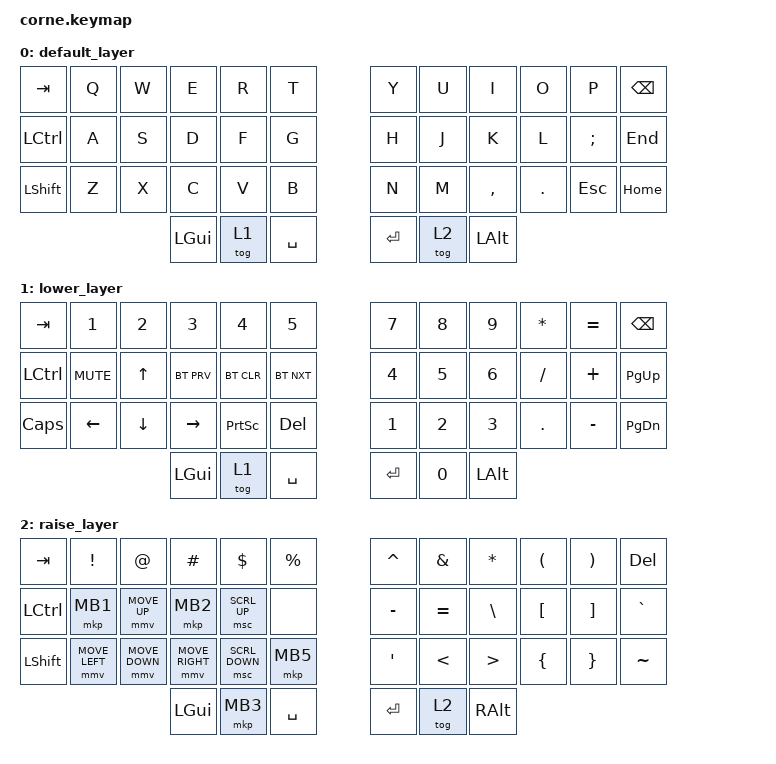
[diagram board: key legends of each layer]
/*
 * Copyright (c) 2020 The ZMK Contributors
 *
 * SPDX-License-Identifier: MIT
 */

#include <behaviors.dtsi>
#include <dt-bindings/zmk/keys.h>
#include <dt-bindings/zmk/bt.h>
#include <dt-bindings/zmk/pointing.h>

/ {
        keymap {
                compatible = "zmk,keymap";
                default_layer {
// -----------------------------------------------------------------------------------------
// |  TAB |  Q  |  W  |  E  |  R  |  T  |   |  Y  |  U   |  I  |  O  |  P  | BSPC |
// | CTRL |  A  |  S  |  D  |  F  |  G  |   |  H  |  J   |  K  |  L  |  ;  | END  |
// | SHFT |  Z  |  X  |  C  |  V  |  B  |   |  N  |  M   |  ,  |  .  | ESC | HOME |
//                    | GUI | LWR | SPC |   | ENT | RSE  | ALT |
                        bindings = <
   &kp TAB    &kp Q  &kp W  &kp E  &kp R  &kp T    &kp Y  &kp U  &kp I      &kp O    &kp P     &kp BSPC
   &kp LCTRL  &kp A  &kp S  &kp D  &kp F  &kp G    &kp H  &kp J  &kp K      &kp L    &kp SEMI  &kp END
   &kp LSHFT  &kp Z  &kp X  &kp C  &kp V  &kp B    &kp N  &kp M  &kp COMMA  &kp DOT  &kp ESC   &kp HOME
                  &kp LGUI  &tog 1  &kp SPACE      &kp RET  &tog 2  &kp LALT
                        >;
                };
                lower_layer {
// -----------------------------------------------------------------------------------------
// |  TAB |  1  |  2  |  3  |  4  |  5  |   |  7  |  8  |  9  |  *  |  =  | BSPC |
// | CTRL |MUTE | UP  |BPRV |BCLR |BNXT |   |  4  |  5  |  6  |  /  |  +  | PGUP |
// | CAPS | LFT | DWN | RGT |PRINT| DEL |   |  1  |  2  |  3  |  .  |  -  | PGDN |
//                    | GUI | LWR | SPC |   | ENT |  0  | ALT |
                        bindings = <
   &kp TAB    &kp N1     &kp N2    &kp N3     &kp N4     &kp N5           &kp N7   &kp N8   &kp N9   &kp ASTRK  &kp EQUAL  &kp BSPC
   &kp LCTRL  &kp C_MUTE &kp UP    &bt BT_PRV &bt BT_CLR &bt BT_NXT       &kp N4   &kp N5   &kp N6   &kp FSLH   &kp PLUS   &kp PG_UP 
   &kp CAPS   &kp LEFT   &kp DOWN  &kp RIGHT  &kp PSCRN  &kp DEL          &kp N1   &kp N2   &kp N3   &kp DOT    &kp MINUS  &kp PG_DN
                                   &kp LGUI   &tog 1     &kp SPACE        &kp RET  &kp N0   &kp LALT
                        >;
                };
                raise_layer {
// -----------------------------------------------------------------------------------------
// |  TAB |  !  |  @  |  #  |  $  |  %  |   |  ^  |  &  |  *  |  (  |  )  | DEL   |
// | CTRL |LCLK | MUP |RCLK |SCRUP|MFWRD|   |  -  |  =  |  \  |  [  |  ]  |  `   |
// | SHFT |MLEFT|MDOWN|MRIGT|SCRDW|MBACK|   |  '  |  <  |  >  |  {  |  }  |  ~   |
//                    | GUI |MSCR | SPC |   | ENT | RSE | ALT |
                        bindings = <
   &kp TAB    &kp EXCL       &kp AT         &kp HASH        &kp DLLR        &kp PRCNT    &kp CARET  &kp AMPS   &kp ASTRK  &kp LPAR  &kp RPAR  &kp DEL
   &kp LCTRL  &mkp MB1       &mmv MOVE_UP   &mkp MB2        &msc SCRL_UP    &none        &kp MINUS  &kp EQUAL  &kp BSLH   &kp LBKT  &kp RBKT  &kp GRAVE
   &kp LSHFT  &mmv MOVE_LEFT &mmv MOVE_DOWN &mmv MOVE_RIGHT &msc SCRL_DOWN  &mkp MB5     &kp SQT    &kp LT     &kp GT     &kp LBRC  &kp RBRC  &kp TILDE
                                            &kp LGUI        &mkp MB3        &kp SPACE    &kp RET    &tog 2     &kp RALT
                        >;
                };
        };
};
